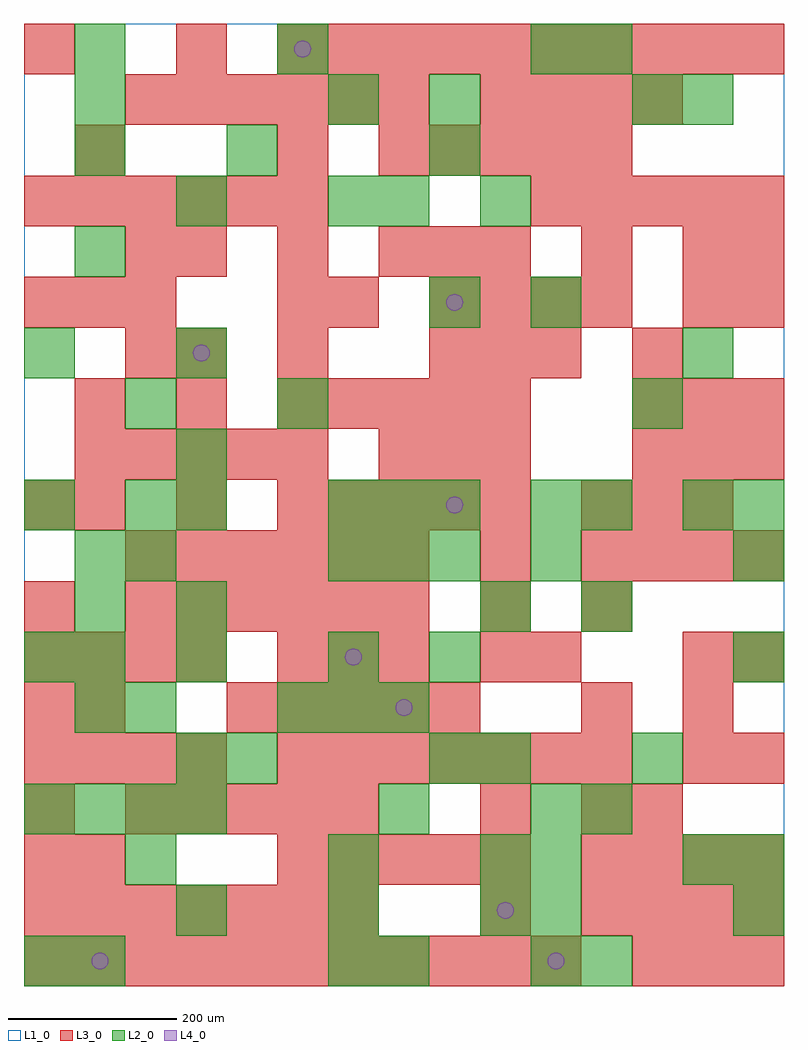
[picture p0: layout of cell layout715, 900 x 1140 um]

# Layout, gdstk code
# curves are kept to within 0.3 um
import gdstk
lib = gdstk.Library(unit=1e-6, precision=1e-09)
def R(c, l, rs):  # rectangles x0, y0, x1, y1
    for r in rs: c.add(gdstk.rectangle(r[:2], r[2:], *l))
def A(c, l, x, y, w, h, nx, ny, dx, dy):  # array of equal rectangles
    R(c, l, [(x+i*dx, y+j*dy, x+i*dx+w, y+j*dy+h) for i in range(nx) for j in range(ny)])
def P(c, l, *ps):  # polygons
    for p in ps: c.add(gdstk.Polygon(p, *l))
L1_0 = (1, 0)
L2_0 = (2, 0)
L3_0 = (3, 0)
L4_0 = (4, 0)

layout715 = lib.new_cell('layout715')
R(layout715, L1_0, [(0,0,900,1140)])
A(layout715, L2_0, 600, 0, 60, 60, 1, 4, 0, 60)
A(layout715, L2_0, 180, 60, 60, 60, 3, 1, 180, 0)
A(layout715, L2_0, 120, 120, 60, 60, 1, 3, 0, 180)
A(layout715, L2_0, 0, 180, 60, 60, 4, 1, 60, 0)
A(layout715, L2_0, 60, 300, 60, 60, 1, 4, 0, 60)
A(layout715, L2_0, 300, 300, 60, 60, 3, 1, 60, 0)
A(layout715, L2_0, 0, 360, 60, 60, 1, 3, 0, 180)
A(layout715, L2_0, 360, 480, 60, 60, 3, 2, 60, 60)
A(layout715, L2_0, 60, 960, 60, 60, 1, 3, 0, 60)
R(layout715, L2_0, [(0,0,60,60), (60,0,120,60), (360,0,420,60), (420,0,480,60), (660,0,720,60), (840,60,900,120), (360,120,420,180), (540,120,600,180), (780,120,840,180), (840,120,900,180), (420,180,480,240), (660,180,720,240), (180,240,240,300), (240,240,300,300), (480,240,540,300), (540,240,600,300), (720,240,780,300), (180,360,240,420), (360,360,420,420), (480,360,540,420), (840,360,900,420), (180,420,240,480), (540,420,600,480), (660,420,720,480), (600,480,660,540), (840,480,900,540), (120,540,180,600), (180,540,240,600), (600,540,660,600), (660,540,720,600), (780,540,840,600), (840,540,900,600), (180,600,240,660), (120,660,180,720), (300,660,360,720), (720,660,780,720), (180,720,240,780), (780,720,840,780), (480,780,540,840), (600,780,660,840), (60,840,120,900), (180,900,240,960), (360,900,420,960), (420,900,480,960), (540,900,600,960), (240,960,300,1020), (480,960,540,1020), (360,1020,420,1080), (480,1020,540,1080), (720,1020,780,1080), (780,1020,840,1080), (300,1080,360,1140), (600,1080,660,1140), (660,1080,720,1140)])
A(layout715, L3_0, 0, 0, 60, 60, 11, 1, 60, 0)
A(layout715, L3_0, 720, 0, 60, 60, 3, 2, 60, 600)
A(layout715, L3_0, 0, 60, 60, 60, 7, 1, 60, 0)
A(layout715, L3_0, 660, 60, 60, 60, 4, 2, 60, 60)
A(layout715, L3_0, 300, 120, 60, 60, 5, 1, 60, 0)
A(layout715, L3_0, 0, 180, 60, 60, 1, 4, 0, 120)
A(layout715, L3_0, 120, 180, 60, 60, 5, 1, 60, 0)
A(layout715, L3_0, 660, 180, 60, 60, 1, 3, 0, 120)
A(layout715, L3_0, 0, 240, 60, 60, 4, 2, 60, 120)
A(layout715, L3_0, 300, 240, 60, 60, 7, 1, 60, 0)
A(layout715, L3_0, 780, 240, 60, 60, 1, 3, 0, 60)
A(layout715, L3_0, 240, 300, 60, 60, 5, 1, 60, 0)
A(layout715, L3_0, 300, 360, 60, 60, 3, 1, 60, 0)
A(layout715, L3_0, 540, 360, 60, 60, 1, 3, 0, 60)
A(layout715, L3_0, 120, 420, 60, 60, 6, 2, 60, 60)
A(layout715, L3_0, 660, 480, 60, 60, 4, 1, 60, 0)
A(layout715, L3_0, 60, 540, 60, 60, 3, 2, 120, 120)
A(layout715, L3_0, 360, 540, 60, 60, 4, 2, 60, 120)
A(layout715, L3_0, 660, 540, 60, 60, 3, 1, 60, 0)
A(layout715, L3_0, 60, 600, 60, 60, 5, 1, 60, 0)
A(layout715, L3_0, 420, 600, 60, 60, 3, 1, 60, 0)
A(layout715, L3_0, 720, 660, 60, 60, 3, 1, 60, 0)
A(layout715, L3_0, 480, 720, 60, 60, 3, 1, 60, 0)
A(layout715, L3_0, 0, 780, 60, 60, 3, 1, 60, 0)
A(layout715, L3_0, 480, 780, 60, 60, 4, 1, 60, 0)
A(layout715, L3_0, 180, 840, 60, 60, 3, 1, 120, 0)
A(layout715, L3_0, 540, 840, 60, 60, 3, 1, 120, 0)
A(layout715, L3_0, 0, 900, 60, 60, 6, 1, 60, 0)
A(layout715, L3_0, 600, 900, 60, 60, 5, 1, 60, 0)
A(layout715, L3_0, 420, 960, 60, 60, 5, 1, 60, 0)
A(layout715, L3_0, 120, 1020, 60, 60, 6, 1, 60, 0)
A(layout715, L3_0, 540, 1020, 60, 60, 4, 1, 60, 0)
A(layout715, L3_0, 300, 1080, 60, 60, 10, 1, 60, 0)
R(layout715, L3_0, [(540,60,600,120), (0,120,60,180), (60,120,120,180), (540,180,600,240), (720,180,780,240), (840,240,900,300), (60,300,120,360), (600,360,660,420), (840,360,900,420), (120,720,180,780), (180,720,240,780), (300,720,360,780), (720,720,780,780), (300,780,360,840), (360,780,420,840), (780,780,840,840), (840,780,900,840), (120,840,180,900), (480,840,540,900), (840,840,900,900), (60,960,120,1020), (300,960,360,1020), (0,1080,60,1140), (180,1080,240,1140)])
P(layout715, L4_0, [(100,30),(99.239,33.827),(97.071,37.071),(93.827,39.239),(90,40),(86.173,39.239),(82.929,37.071),(80.761,33.827),(80,30),(80.761,26.173),(82.929,22.929),(86.173,20.761),(90,20),(93.827,20.761),(97.071,22.929),(99.239,26.173)],
  [(220,750),(219.239,753.827),(217.071,757.071),(213.827,759.239),(210,760),(206.173,759.239),(202.929,757.071),(200.761,753.827),(200,750),(200.761,746.173),(202.929,742.929),(206.173,740.761),(210,740),(213.827,740.761),(217.071,742.929),(219.239,746.173)],
  [(340,1110),(339.239,1113.827),(337.071,1117.071),(333.827,1119.239),(330,1120),(326.173,1119.239),(322.929,1117.071),(320.761,1113.827),(320,1110),(320.761,1106.173),(322.929,1102.929),(326.173,1100.761),(330,1100),(333.827,1100.761),(337.071,1102.929),(339.239,1106.173)],
  [(400,390),(399.239,393.827),(397.071,397.071),(393.827,399.239),(390,400),(386.173,399.239),(382.929,397.071),(380.761,393.827),(380,390),(380.761,386.173),(382.929,382.929),(386.173,380.761),(390,380),(393.827,380.761),(397.071,382.929),(399.239,386.173)],
  [(460,330),(459.239,333.827),(457.071,337.071),(453.827,339.239),(450,340),(446.173,339.239),(442.929,337.071),(440.761,333.827),(440,330),(440.761,326.173),(442.929,322.929),(446.173,320.761),(450,320),(453.827,320.761),(457.071,322.929),(459.239,326.173)],
  [(520,570),(519.239,573.827),(517.071,577.071),(513.827,579.239),(510,580),(506.173,579.239),(502.929,577.071),(500.761,573.827),(500,570),(500.761,566.173),(502.929,562.929),(506.173,560.761),(510,560),(513.827,560.761),(517.071,562.929),(519.239,566.173)],
  [(520,810),(519.239,813.827),(517.071,817.071),(513.827,819.239),(510,820),(506.173,819.239),(502.929,817.071),(500.761,813.827),(500,810),(500.761,806.173),(502.929,802.929),(506.173,800.761),(510,800),(513.827,800.761),(517.071,802.929),(519.239,806.173)],
  [(580,90),(579.239,93.827),(577.071,97.071),(573.827,99.239),(570,100),(566.173,99.239),(562.929,97.071),(560.761,93.827),(560,90),(560.761,86.173),(562.929,82.929),(566.173,80.761),(570,80),(573.827,80.761),(577.071,82.929),(579.239,86.173)],
  [(640,30),(639.239,33.827),(637.071,37.071),(633.827,39.239),(630,40),(626.173,39.239),(622.929,37.071),(620.761,33.827),(620,30),(620.761,26.173),(622.929,22.929),(626.173,20.761),(630,20),(633.827,20.761),(637.071,22.929),(639.239,26.173)])

lib.write_gds('layout715.gds')
